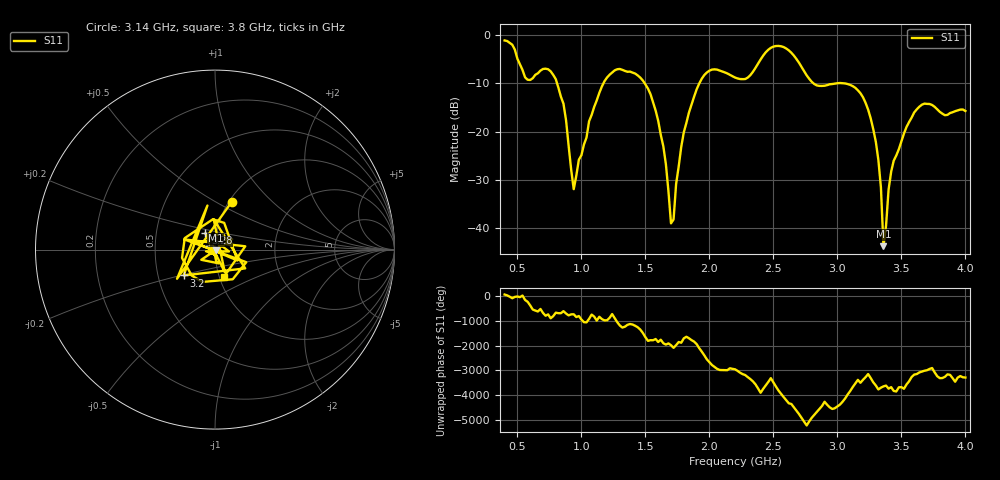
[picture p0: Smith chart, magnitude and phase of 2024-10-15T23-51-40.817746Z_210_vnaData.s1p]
! Created with skrf (http://scikit-rf.org).
# Hz S RI R 50.0
!freq ReS11 ImS11
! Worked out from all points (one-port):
!   181 points, 400 MHz to 4 GHz, reference 50 ohm
!   lowest |S11| = -43.7 dB at 3.36 GHz (marker M1), VSWR 1.01, Z = 50.5 - j0.471 ohm
!   |S11| at or under -10 dB: 809.3 MHz to 1.173 GHz (363.6 MHz wide, 36.7 % of centre); 1.494 GHz to 1.922 GHz (428.7 MHz wide, 25.1 % of centre); 3.029 GHz to end of sweep (the widest 3 of 4)
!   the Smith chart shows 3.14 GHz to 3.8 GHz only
!   S11 on the Smith chart (normalised r, x): 3.14 GHz: 1.03, +0.60; 3.2 GHz: 0.68, -0.21; 3.28 GHz: 0.88, +0.16; 3.8 GHz: 1.05, -0.33
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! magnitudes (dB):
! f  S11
! 400 MHz  -1.2
! 580 MHz  -9.3
! 760 MHz  -7.6
! 860 MHz  -14.3
! 940 MHz  -31.9
! 1.14 GHz  -12.0
! 1.3 GHz  -7.1
! 1.54 GHz  -12.3
! 1.64 GHz  -23.0
! 1.7 GHz  -39.0
! 1.72 GHz  -38.1
! 1.76 GHz  -27.2
! 1.84 GHz  -16.1
! 1.94 GHz  -9.1
! 2.2 GHz  -8.8
! 2.5 GHz  -2.5
! 2.66 GHz  -4.3
! 2.84 GHz  -10.5
! 3.1 GHz  -10.4
! 3.14 GHz  -11.0
! 3.2 GHz  -12.9
! 3.28 GHz  -19.5
! 3.34 GHz  -31.5
! 3.36 GHz  -43.7
! 3.42 GHz  -28.3
! 3.56 GHz  -18.0
! 3.8 GHz  -15.9
! 4 GHz  -15.8
